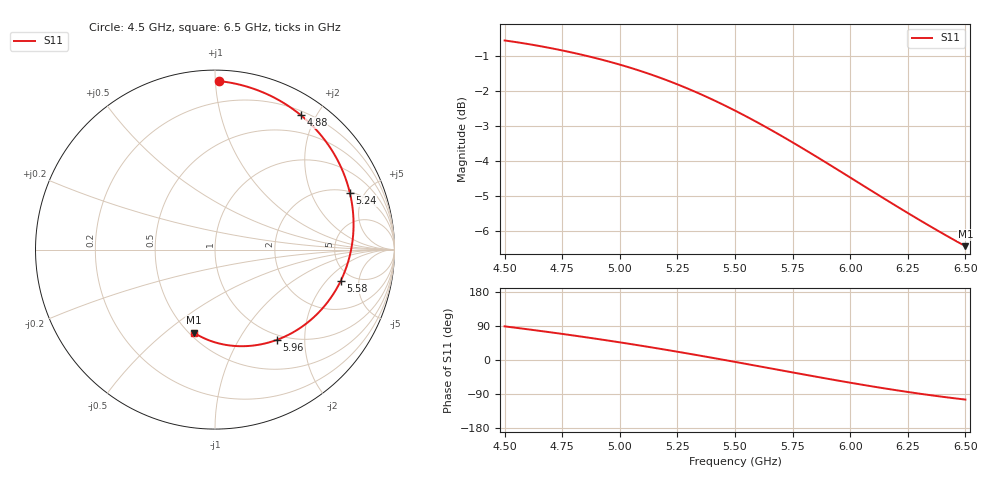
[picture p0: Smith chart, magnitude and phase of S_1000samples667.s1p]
! TOUCHSTONE file generated by CST MICROWAVE STUDIO
! Date and time: Fri Oct 28 23:20:58 2022
! Project name: L.cst
! Parameters = {Di=1.27; Epsilon_r=1.56; InnerDiameter=1.27; Length=2; Lf=10; Lg=60; OuterConductorThickness=0.2921; OuterDiameter=3.6; Wf=3; Wp=41.2; de=1.5; df=6.8; g=0.8; gx=1.02446; gy=3.64073; h=2.34; hf=1.524; px=8.9942; py=8.82309; w=9.7; wx=7.96974; wy=5.18236}
! Header version: 2018
! Port assignment regex: !\s*Touchstone port\s*([0-9]+)\s*=\s*(CST MWS port|CST DS port)\s*([0-9]+|Zmin|Zmax)\s*\(\"(.*)\"\)(\s*mode\s*([0-9]+))?.*
! Touchstone port assignment:
! Touchstone port 1 = CST MWS port 1 ("")
# GHz S DB R 50
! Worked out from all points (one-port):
!   101 points, 4.5 GHz to 6.5 GHz, reference 50 ohm
!   lowest |S11| = -6.4 dB at 6.5 GHz (marker M1), VSWR 2.82, Z = 26.4 - j31.6 ohm
!   |S11| at or under -10 dB: nowhere
!   S11 on the Smith chart (normalised r, x): 4.5 GHz: 0.06, +1.02; 4.88 GHz: 0.25, +1.79; 5.24 GHz: 2.07, +3.90; 5.58 GHz: 4.02, -2.90; 5.96 GHz: 0.92, -1.47; 6.5 GHz: 0.53, -0.63
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4.5  -0.54 88.8
4.58  -0.62 82.6
4.64  -0.69 77.9
4.76  -0.84 68.0
4.82  -0.93 62.8
4.88  -1.02 57.6
5  -1.24 46.6
5.06  -1.35 40.9
5.12  -1.48 35.0
5.18  -1.62 29.0
5.24  -1.77 22.9
5.26  -1.83 20.8
5.32  -1.99 14.5
5.38  -2.17 8.1
5.44  -2.35 1.6
5.5  -2.55 -5.0
5.58  -2.83 -13.8
5.68  -3.19 -25.0
5.76  -3.50 -33.9
5.86  -3.90 -44.9
5.96  -4.30 -55.7
6  -4.47 -59.9
6.06  -4.71 -66.1
6.12  -4.96 -72.1
6.18  -5.20 -77.9
6.26  -5.52 -85.2
6.38  -5.99 -95.4
6.5  -6.43 -104.4
